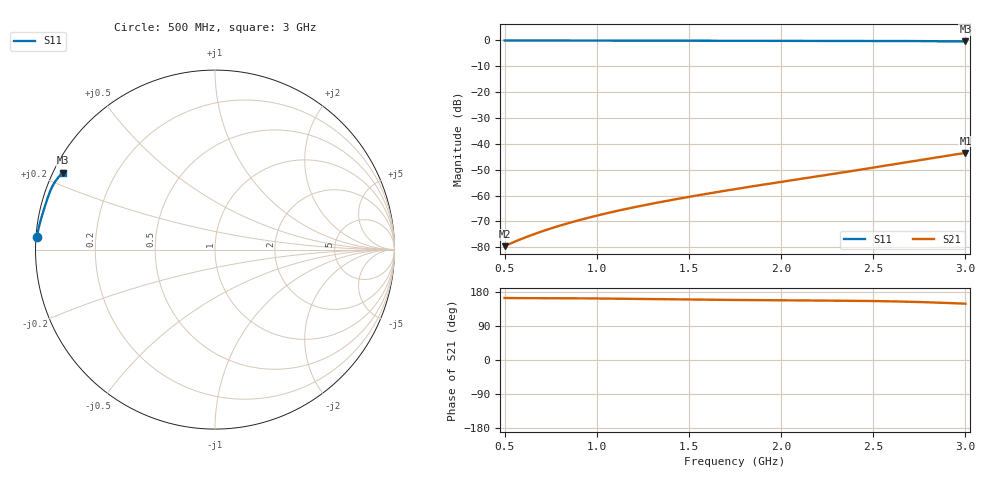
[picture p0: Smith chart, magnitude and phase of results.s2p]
! rfsim (KiCad + openEMS)
# HZ S RI R 50
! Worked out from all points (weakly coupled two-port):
!   251 points, 500 MHz to 3 GHz, reference 50 ohm
!   highest |S21| = -43.50 dB at 3 GHz (marker M1); lowest = -79.5 dB at 500 MHz (marker M2)
!   lowest |S11| = -0.4 dB at 3 GHz (marker M3), VSWR 39.51, Z = 1.34 + j11.9 ohm
!   |S11| at or under -10 dB: nowhere
!   S12 and S22 are empty: the file has one direction only
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5e8  -0.9932 0.0677  -0.000101 2.97e-05  0 0  0 0
5.4e8  -0.9922 0.0728  -0.000117 3.5e-05  0 0  0 0
5.9e8  -0.991 0.0791  -0.000139 4.17e-05  0 0  0 0
6.4e8  -0.9898 0.0854  -0.000163 4.87e-05  0 0  0 0
6.9e8  -0.9885 0.0916  -0.000188 5.63e-05  0 0  0 0
7.4e8  -0.9873 0.0978  -0.000216 6.47e-05  0 0  0 0
8e8  -0.9857 0.1052  -0.000252 7.58e-05  0 0  0 0
8.6e8  -0.9841 0.1126  -0.00029 8.85e-05  0 0  0 0
9.2e8  -0.9824 0.12  -0.000332 0.000103  0 0  0 0
1.01e9  -0.9798 0.1311  -0.000399 0.000128  0 0  0 0
1.11e9  -0.9767 0.1434  -0.00048 0.00016  0 0  0 0
1.22e9  -0.9731 0.1568  -0.000579 0.000201  0 0  0 0
1.34e9  -0.969 0.1715  -0.0007 0.000252  0 0  0 0
1.43e9  -0.9658 0.1826  -0.000801 0.000295  0 0  0 0
1.53e9  -0.9622 0.195  -0.000923 0.000348  0 0  0 0
1.75e9  -0.9537 0.2228  -0.00124 0.000491  0 0  0 0
1.92e9  -0.9465 0.245  -0.00154 0.000629  0 0  0 0
2.17e9  -0.935 0.2799  -0.00209 0.00089  0 0  0 0
2.41e9  -0.9214 0.318  -0.00282 0.00125  0 0  0 0
2.59e9  -0.907 0.3504  -0.00354 0.00166  0 0  0 0
2.79e9  -0.8834 0.3889  -0.00452 0.00236  0 0  0 0
3e9  -0.8488 0.4281  -0.00571 0.00348  0 0  0 0
